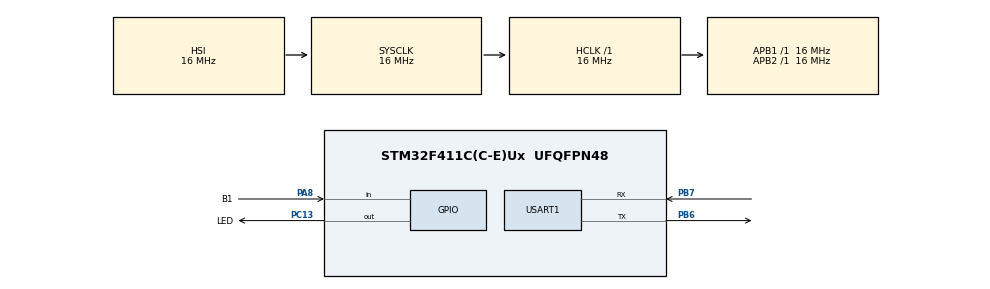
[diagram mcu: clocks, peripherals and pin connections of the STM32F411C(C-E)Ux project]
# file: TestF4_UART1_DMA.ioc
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Dma.Request0=USART1_RX
Dma.Request1=USART1_TX
Dma.USART1_RX.0.Direction=DMA_PERIPH_TO_MEMORY
Dma.USART1_RX.0.FIFOMode=DMA_FIFOMODE_DISABLE
Dma.USART1_RX.0.Instance=DMA2_Stream2
Dma.USART1_RX.0.MemDataAlignment=DMA_MDATAALIGN_BYTE
Dma.USART1_RX.0.MemInc=DMA_MINC_ENABLE
Dma.USART1_RX.0.Mode=DMA_NORMAL
Dma.USART1_RX.0.PeriphDataAlignment=DMA_PDATAALIGN_BYTE
Dma.USART1_RX.0.PeriphInc=DMA_PINC_DISABLE
Dma.USART1_RX.0.Priority=DMA_PRIORITY_LOW
Dma.USART1_TX.1.Direction=DMA_MEMORY_TO_PERIPH
Dma.USART1_TX.1.FIFOMode=DMA_FIFOMODE_DISABLE
Dma.USART1_TX.1.Instance=DMA2_Stream7
Dma.USART1_TX.1.MemDataAlignment=DMA_MDATAALIGN_BYTE
Dma.USART1_TX.1.MemInc=DMA_MINC_ENABLE
Dma.USART1_TX.1.Mode=DMA_NORMAL
Dma.USART1_TX.1.PeriphDataAlignment=DMA_PDATAALIGN_BYTE
Dma.USART1_TX.1.PeriphInc=DMA_PINC_DISABLE
Dma.USART1_TX.1.Priority=DMA_PRIORITY_LOW
Mcu.Family=STM32F4
Mcu.Name=STM32F411C(C-E)Ux
Mcu.Package=UFQFPN48
NVIC.DMA2_Stream2_IRQn=true\:0\:0\:false\:false\:true\:false\:true\:true
NVIC.DMA2_Stream7_IRQn=true\:0\:0\:false\:false\:true\:false\:true\:true
NVIC.PriorityGroup=NVIC_PRIORITYGROUP_4
NVIC.USART1_IRQn=true\:1\:0\:true\:false\:true\:true\:true\:true
PA13.Mode=Serial_Wire
PA13.Signal=SYS_JTMS-SWDIO
PA14.Mode=Serial_Wire
PA14.Signal=SYS_JTCK-SWCLK
PA8.GPIO_Label=B1
PA8.Signal=GPIO_Input
PB6.Mode=Asynchronous
PB6.Signal=USART1_TX
PB7.Mode=Asynchronous
PB7.Signal=USART1_RX
PC13-ANTI_TAMP.GPIO_Label=LED
PC13-ANTI_TAMP.GPIO_ModeDefaultOutputPP=GPIO_MODE_OUTPUT_PP
PC13-ANTI_TAMP.GPIO_PuPd=GPIO_NOPULL
PC13-ANTI_TAMP.Signal=GPIO_Output
ProjectManager.HeapSize=0x200
ProjectManager.StackSize=0x400
ProjectManager.TargetToolchain=STM32CubeIDE
RCC.AHBFreq_Value=16000000
RCC.APB1Freq_Value=16000000
RCC.APB2Freq_Value=16000000
RCC.CortexFreq_Value=16000000
RCC.HSE_VALUE=25000000
RCC.HSI_VALUE=16000000
RCC.LSE_VALUE=32768
RCC.SYSCLKFreq_VALUE=16000000
RCC.VCOOutputFreq_Value=192000000
USART1.VirtualMode=VM_ASYNC
board=custom

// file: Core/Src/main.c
/* USER CODE BEGIN Header */
/**
  ******************************************************************************
  * @file           : main.c
  * @brief          : Main program body
  ******************************************************************************
  * @attention
  *
  * Copyright (c) 2026 STMicroelectronics.
  * All rights reserved.
  *
  * This software is licensed under terms that can be found in the LICENSE file
  * in the root directory of this software component.
  * If no LICENSE file comes with this software, it is provided AS-IS.
  *
  ******************************************************************************
  */
/* USER CODE END Header */
#include "main.h"

UART_HandleTypeDef huart1;
DMA_HandleTypeDef hdma_usart1_rx;
DMA_HandleTypeDef hdma_usart1_tx;

/* USER CODE BEGIN PV */
uint8_t RxData[]= {0}; //массив для приема данных из PC

int button_read = 0; //текущее состояние кнопки B1
int button_back = 0; //предыдущее состояние кнопки B1

char TxData[]="Subscribe to NR.electronics Channel\r\n"; //массив который будем передавать в PC

int i = 0;   //присваиваем значение "0" счетчику
int n = 3;   //количество изменений состояния светодиода
int cnt = 0; //Счётчик для временной задержки
/* USER CODE END PV */

void SystemClock_Config(void);
static void MX_GPIO_Init(void);
static void MX_DMA_Init(void);
static void MX_USART1_UART_Init(void);

int main(void)
{

  /* MCU Configuration--------------------------------------------------------*/

  /* Reset of all peripherals, Initializes the Flash interface and the Systick. */
  HAL_Init();

  /* Configure the system clock */
  SystemClock_Config();

  /* Initialize all configured peripherals */
  MX_GPIO_Init();
  MX_DMA_Init();
  MX_USART1_UART_Init();
  /* USER CODE BEGIN 2 */
  HAL_UART_Receive_DMA (&huart1, RxData, sizeof(RxData));
  /* USER CODE END 2 */

  /* Infinite loop */
  /* USER CODE BEGIN WHILE */
  while (1)
  {
	  button_read = HAL_GPIO_ReadPin(GPIOA, B1_Pin);

	  // Ловим фронт: было 1 (отпущена), стало 0 (нажата)
	  if ((button_back == 1) && (button_read == 0)) {
	          HAL_UART_Transmit_DMA(&huart1, (uint8_t *)TxData, sizeof(TxData));
	      }
	  button_back = button_read;// для распознования нажатия
    /* USER CODE END WHILE */

  }
}

void SystemClock_Config(void)
{
  RCC_OscInitTypeDef RCC_OscInitStruct = {0};
  RCC_ClkInitTypeDef RCC_ClkInitStruct = {0};

  /** Configure the main internal regulator output voltage
  */
  __HAL_RCC_PWR_CLK_ENABLE();
  __HAL_PWR_VOLTAGESCALING_CONFIG(PWR_REGULATOR_VOLTAGE_SCALE1);

  /** Initializes the RCC Oscillators according to the specified parameters
  * in the RCC_OscInitTypeDef structure.
  */
  RCC_OscInitStruct.OscillatorType = RCC_OSCILLATORTYPE_HSI;
  RCC_OscInitStruct.HSIState = RCC_HSI_ON;
  RCC_OscInitStruct.HSICalibrationValue = RCC_HSICALIBRATION_DEFAULT;
  RCC_OscInitStruct.PLL.PLLState = RCC_PLL_NONE;
  if (HAL_RCC_OscConfig(&RCC_OscInitStruct) != HAL_OK)
  {
    Error_Handler();
  }

  /** Initializes the CPU, AHB and APB buses clocks
  */
  RCC_ClkInitStruct.ClockType = RCC_CLOCKTYPE_HCLK|RCC_CLOCKTYPE_SYSCLK
                              |RCC_CLOCKTYPE_PCLK1|RCC_CLOCKTYPE_PCLK2;
  RCC_ClkInitStruct.SYSCLKSource = RCC_SYSCLKSOURCE_HSI;
  RCC_ClkInitStruct.AHBCLKDivider = RCC_SYSCLK_DIV1;
  RCC_ClkInitStruct.APB1CLKDivider = RCC_HCLK_DIV1;
  RCC_ClkInitStruct.APB2CLKDivider = RCC_HCLK_DIV1;

  if (HAL_RCC_ClockConfig(&RCC_ClkInitStruct, FLASH_LATENCY_0) != HAL_OK)
  {
    Error_Handler();
  }
}

static void MX_USART1_UART_Init(void)
{

  huart1.Instance = USART1;
  huart1.Init.BaudRate = 115200;
  huart1.Init.WordLength = UART_WORDLENGTH_8B;
  huart1.Init.StopBits = UART_STOPBITS_1;
  huart1.Init.Parity = UART_PARITY_NONE;
  huart1.Init.Mode = UART_MODE_TX_RX;
  huart1.Init.HwFlowCtl = UART_HWCONTROL_NONE;
  huart1.Init.OverSampling = UART_OVERSAMPLING_16;
  if (HAL_UART_Init(&huart1) != HAL_OK)
  {
    Error_Handler();
  }

}

static void MX_DMA_Init(void)
{

  /* DMA controller clock enable */
  __HAL_RCC_DMA2_CLK_ENABLE();

  /* DMA interrupt init */
  /* DMA2_Stream2_IRQn interrupt configuration */
  HAL_NVIC_SetPriority(DMA2_Stream2_IRQn, 0, 0);
  HAL_NVIC_EnableIRQ(DMA2_Stream2_IRQn);
  /* DMA2_Stream7_IRQn interrupt configuration */
  HAL_NVIC_SetPriority(DMA2_Stream7_IRQn, 0, 0);
  HAL_NVIC_EnableIRQ(DMA2_Stream7_IRQn);

}

static void MX_GPIO_Init(void)
{
  GPIO_InitTypeDef GPIO_InitStruct = {0};

  /* GPIO Ports Clock Enable */
  __HAL_RCC_GPIOC_CLK_ENABLE();
  __HAL_RCC_GPIOA_CLK_ENABLE();
  __HAL_RCC_GPIOB_CLK_ENABLE();

  /*Configure GPIO pin Output Level */
  HAL_GPIO_WritePin(LED_GPIO_Port, LED_Pin, GPIO_PIN_RESET);

  /*Configure GPIO pin : LED_Pin */
  GPIO_InitStruct.Pin = LED_Pin;
  GPIO_InitStruct.Mode = GPIO_MODE_OUTPUT_PP;
  GPIO_InitStruct.Pull = GPIO_NOPULL;
  GPIO_InitStruct.Speed = GPIO_SPEED_FREQ_LOW;
  HAL_GPIO_Init(LED_GPIO_Port, &GPIO_InitStruct);

  /*Configure GPIO pin : B1_Pin */
  GPIO_InitStruct.Pin = B1_Pin;
  GPIO_InitStruct.Mode = GPIO_MODE_INPUT;
  GPIO_InitStruct.Pull = GPIO_NOPULL;
  HAL_GPIO_Init(B1_GPIO_Port, &GPIO_InitStruct);

}

/* USER CODE BEGIN 4 */

void HAL_UART_RxCpltCallback(UART_HandleTypeDef *huart) {
    if (huart->Instance == USART1) {
        // Обработка данных
        if (RxData[0] == '1') {
            HAL_GPIO_WritePin(GPIOC, LED_Pin, GPIO_PIN_RESET);
        } else if (RxData[0] == '2') {
            HAL_GPIO_WritePin(GPIOC, LED_Pin, GPIO_PIN_SET);
        }
        // Перезапуск приёма — ОДИН РАЗ в конце
        HAL_UART_Receive_DMA(&huart1, RxData, sizeof(RxData));
    }
}

void HAL_UART_TxCpltCallback(UART_HandleTypeDef *huart) {//Если мы "попали" в Callback, т.е. была передача данных с контроллера(HAL_UART_Transmit_IT(&huart2, (uint8_t *)TxData, sizeof(TxData)); ) на компьютер
	if(huart == &huart1) {

		while(i < n) //3 раза меняем состояние светодиода: ВКЛ/ВЫКЛ/ВКЛ
        {
			HAL_GPIO_TogglePin(GPIOC, LED_Pin);
            i++; //увеличиваем i на 1
            while(cnt < 900000){// организуем искусственную задержку счетчиком, она блокирующая, ради примера, конечно лучше сделать через таймеры например, не увеличиваем код для понимания работы IT
            cnt++;//пока значение переменной count меньше 9000000, то инкрементируем его на 1
        };
        cnt=0;//после отработки цикла счётчика обязательно обнуляем
		}
		HAL_GPIO_WritePin(GPIOC, LED_Pin, GPIO_PIN_SET);//принудительно всегда выключаем светодиод после выполнения изменений состояния
		i = 0;
	}

}

/* USER CODE END 4 */

void Error_Handler(void)
{
  __disable_irq();
  while (1)
  {
  }
}
